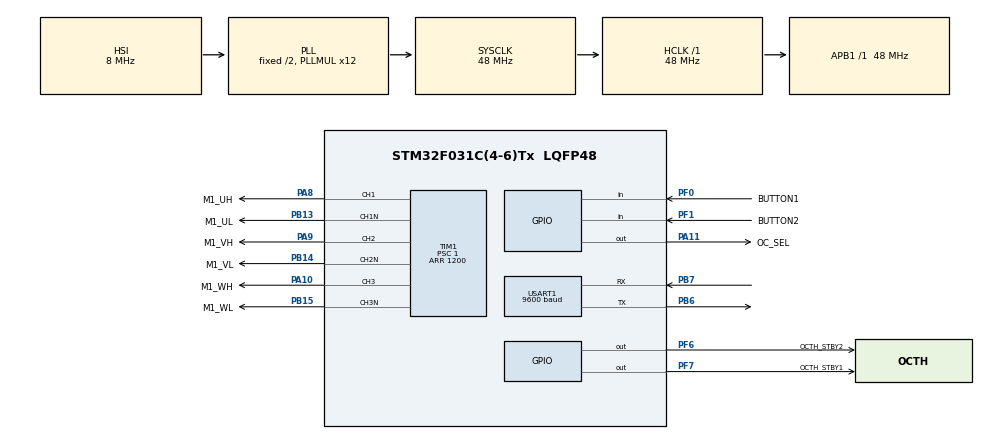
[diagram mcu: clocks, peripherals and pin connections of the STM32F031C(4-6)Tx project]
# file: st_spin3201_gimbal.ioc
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Mcu.Family=STM32F0
Mcu.Name=STM32F031C(4-6)Tx
Mcu.Package=LQFP48
NVIC.TIM1_BRK_UP_TRG_COM_IRQn=true\:0\:0\:false\:false\:true\:true\:true
NVIC.TIM1_CC_IRQn=true\:0\:0\:false\:false\:true\:true\:true
PA10.GPIO_Label=M1_WH
PA10.Signal=S_TIM1_CH3
PA11.GPIO_Label=OC_SEL
PA11.Signal=GPIO_Output
PA8.GPIO_Label=M1_UH
PA8.Signal=S_TIM1_CH1
PA9.GPIO_Label=M1_VH
PA9.Signal=S_TIM1_CH2
PB13.GPIO_Label=M1_UL
PB13.Mode=PWM Generation1 CH1 CH1N
PB13.Signal=TIM1_CH1N
PB14.GPIO_Label=M1_VL
PB14.Mode=PWM Generation2 CH2 CH2N
PB14.Signal=TIM1_CH2N
PB15.GPIO_Label=M1_WL
PB15.Mode=PWM Generation3 CH3 CH3N
PB15.Signal=TIM1_CH3N
PB6.Mode=Asynchronous
PB6.Signal=USART1_TX
PB7.Mode=Asynchronous
PB7.Signal=USART1_RX
PF0-OSC_IN.GPIO_Label=BUTTON1
PF0-OSC_IN.Signal=GPIO_Input
PF1-OSC_OUT.GPIO_Label=BUTTON2
PF1-OSC_OUT.Signal=GPIO_Input
PF6.GPIO_Label=OCTH_STBY2
PF6.Signal=GPIO_Output
PF7.GPIO_Label=OCTH_STBY1
PF7.Signal=GPIO_Output
ProjectManager.HeapSize=0x200
ProjectManager.StackSize=0x400
ProjectManager.TargetToolchain=STM32CubeIDE
RCC.AHBFreq_Value=48000000
RCC.APB1Freq_Value=48000000
RCC.APB1TimFreq_Value=48000000
RCC.HCLKFreq_Value=48000000
RCC.PLLMUL=RCC_PLL_MUL12
RCC.SYSCLKFreq_VALUE=48000000
RCC.SYSCLKSource=RCC_SYSCLKSOURCE_PLLCLK
SH.S_TIM1_CH1.0=TIM1_CH1,PWM Generation1 CH1 CH1N
SH.S_TIM1_CH2.0=TIM1_CH2,PWM Generation2 CH2 CH2N
SH.S_TIM1_CH3.0=TIM1_CH3,PWM Generation3 CH3 CH3N
TIM1.Channel-PWM\ Generation1\ CH1\ CH1N=TIM_CHANNEL_1
TIM1.Channel-PWM\ Generation2\ CH2\ CH2N=TIM_CHANNEL_2
TIM1.Channel-PWM\ Generation3\ CH3\ CH3N=TIM_CHANNEL_3
TIM1.CounterMode=TIM_COUNTERMODE_CENTERALIGNED1
TIM1.DeadTime=3
TIM1.OCMode_PWM-PWM\ Generation1\ CH1\ CH1N=TIM_OCMODE_PWM1
TIM1.OCMode_PWM-PWM\ Generation2\ CH2\ CH2N=TIM_OCMODE_PWM1
TIM1.OCMode_PWM-PWM\ Generation3\ CH3\ CH3N=TIM_OCMODE_PWM1
TIM1.Period=1200
TIM1.Prescaler=1
USART1.BaudRate=9600
USART1.VirtualMode-Asynchronous=VM_ASYNC
board=custom

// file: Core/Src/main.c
/* USER CODE BEGIN Header */
/**
  ******************************************************************************
  * @file           : main.c
  * @brief          : Main program body
  ******************************************************************************
  * @attention
  *
  * <h2><center>&copy; Copyright (c) 2020 STMicroelectronics.
  * All rights reserved.</center></h2>
  *
  * This software component is licensed by ST under BSD 3-Clause license,
  * the "License"; You may not use this file except in compliance with the
  * License. You may obtain a copy of the License at:
  *                        opensource.org/licenses/BSD-3-Clause
  *
  ******************************************************************************
  */
/* USER CODE END Header */

#include "main.h"

/* USER CODE BEGIN Includes */
#include "math.h"
/* USER CODE END Includes */

TIM_HandleTypeDef htim1;

UART_HandleTypeDef huart1;

void SystemClock_Config(void);
static void MX_GPIO_Init(void);
static void MX_TIM1_Init(void);
static void MX_USART1_UART_Init(void);
/* USER CODE BEGIN PFP */

const uint16_t g_dc_max = 200u;
volatile uint8_t  g_actv_sector = 0u;
volatile uint16_t g_ccr_ta  = 0u;
volatile uint16_t g_ccr_tb  = 0u;
volatile uint16_t g_ccr_t0  = 0u;
volatile uint8_t  g_data_updated = 0u;

/* USER CODE END PFP */

/* USER CODE BEGIN 0 */

/**
 * @brief Calculate the current sector
 *
 * @param angle Angle of rotor with 0.1 acurracy (e.g. 253 = 25.3°)
 */
const uint8_t getActvSector(const uint16_t angle)
{
  const uint16_t angle_lim = (angle % 3600) / 600;
  return (uint8_t)angle_lim;
}

/* USER CODE END 0 */

int main(void)
{

  /* MCU Configuration--------------------------------------------------------*/

  /* Reset of all peripherals, Initializes the Flash interface and the Systick. */
  HAL_Init();

  /* Configure the system clock */
  SystemClock_Config();

  /* Initialize all configured peripherals */
  MX_GPIO_Init();
  MX_TIM1_Init();
  MX_USART1_UART_Init();
  /* USER CODE BEGIN 2 */

  // Enable device
  HAL_GPIO_WritePin(OCTH_STBY1_GPIO_Port, OCTH_STBY1_Pin, GPIO_PIN_SET);

  // Enable PWM
  HAL_TIM_Base_Start_IT(&htim1);
  HAL_TIM_PWM_Start(&htim1, TIM_CHANNEL_1);
  HAL_TIM_PWM_Start(&htim1, TIM_CHANNEL_2);
  HAL_TIM_PWM_Start(&htim1, TIM_CHANNEL_3);
  HAL_TIMEx_PWMN_Start(&htim1, TIM_CHANNEL_1);
  HAL_TIMEx_PWMN_Start(&htim1, TIM_CHANNEL_2);
  HAL_TIMEx_PWMN_Start(&htim1, TIM_CHANNEL_3);

  //htim1.Instance->CCER = com_table[0];
  /* USER CODE END 2 */

  /* Infinite loop */
  /* USER CODE BEGIN WHILE */

  uint16_t angle = 400u;
  uint8_t angle_up = 1u;

  // Calculate T0
  // 1.0 / 20 kHz = 50 usec -> Center mode = 25 usec

  // Calculate modulation index
  // V_MOT / V_DC = 6.0 / 12.0 = 0.2

  // Calculate timing prefix -> usec time base
  // (2 / sqrt(3)) * T0 * mi = 5.77f;
  const float prefix = 6.0f;

  while (1)
  {
    /* USER CODE END WHILE */

    /* USER CODE BEGIN 3 */

    if(0u == g_data_updated) {

      // Loop takes about 200 usecs
      const uint16_t angle_lim = angle % 600;
      const float angle_rad = ((float)(angle_lim) / 1800.0f) * 3.1416f;

      const float ta = prefix * sinf(1.0472f - angle_rad);
      const float tb = prefix * sinf(angle_rad);
      const float t0 = 25.0f - ta - tb;

      g_ccr_ta = (uint16_t)(ta / 0.0208f);
      g_ccr_tb = (uint16_t)(tb / 0.0208f);
      g_ccr_t0 = (uint16_t)(t0 / (0.0208f * 2.0f));

      g_actv_sector = (angle % 3600) / 600;

      g_data_updated = 1;
    }

    if(angle_up == 1) angle += 5u;
    else angle -= 10;

    //if(angle >= 3500) angle_up = 0u;
    //else if(angle == 0u) angle_up = 1u;

    if(angle >= 3600) angle = 0u;

    HAL_Delay(10u);
  }
  /* USER CODE END 3 */
}

void SystemClock_Config(void)
{
  RCC_OscInitTypeDef RCC_OscInitStruct = {0};
  RCC_ClkInitTypeDef RCC_ClkInitStruct = {0};
  RCC_PeriphCLKInitTypeDef PeriphClkInit = {0};

  /** Initializes the CPU, AHB and APB busses clocks
  */
  RCC_OscInitStruct.OscillatorType = RCC_OSCILLATORTYPE_HSI;
  RCC_OscInitStruct.HSIState = RCC_HSI_ON;
  RCC_OscInitStruct.HSICalibrationValue = RCC_HSICALIBRATION_DEFAULT;
  RCC_OscInitStruct.PLL.PLLState = RCC_PLL_ON;
  RCC_OscInitStruct.PLL.PLLSource = RCC_PLLSOURCE_HSI;
  RCC_OscInitStruct.PLL.PLLMUL = RCC_PLL_MUL12;
  RCC_OscInitStruct.PLL.PREDIV = RCC_PREDIV_DIV1;
  if (HAL_RCC_OscConfig(&RCC_OscInitStruct) != HAL_OK)
  {
    Error_Handler();
  }
  /** Initializes the CPU, AHB and APB busses clocks
  */
  RCC_ClkInitStruct.ClockType = RCC_CLOCKTYPE_HCLK|RCC_CLOCKTYPE_SYSCLK
                              |RCC_CLOCKTYPE_PCLK1;
  RCC_ClkInitStruct.SYSCLKSource = RCC_SYSCLKSOURCE_PLLCLK;
  RCC_ClkInitStruct.AHBCLKDivider = RCC_SYSCLK_DIV1;
  RCC_ClkInitStruct.APB1CLKDivider = RCC_HCLK_DIV1;

  if (HAL_RCC_ClockConfig(&RCC_ClkInitStruct, FLASH_LATENCY_1) != HAL_OK)
  {
    Error_Handler();
  }
  PeriphClkInit.PeriphClockSelection = RCC_PERIPHCLK_USART1;
  PeriphClkInit.Usart1ClockSelection = RCC_USART1CLKSOURCE_PCLK1;
  if (HAL_RCCEx_PeriphCLKConfig(&PeriphClkInit) != HAL_OK)
  {
    Error_Handler();
  }
}

static void MX_TIM1_Init(void)
{

  TIM_MasterConfigTypeDef sMasterConfig = {0};
  TIM_OC_InitTypeDef sConfigOC = {0};
  TIM_BreakDeadTimeConfigTypeDef sBreakDeadTimeConfig = {0};

  htim1.Instance = TIM1;
  htim1.Init.Prescaler = 0;
  htim1.Init.CounterMode = TIM_COUNTERMODE_CENTERALIGNED1;
  htim1.Init.Period = 1204;
  htim1.Init.ClockDivision = TIM_CLOCKDIVISION_DIV1;
  htim1.Init.RepetitionCounter = 0;
  htim1.Init.AutoReloadPreload = TIM_AUTORELOAD_PRELOAD_DISABLE;
  if (HAL_TIM_PWM_Init(&htim1) != HAL_OK)
  {
    Error_Handler();
  }
  sMasterConfig.MasterOutputTrigger = TIM_TRGO_RESET;
  sMasterConfig.MasterSlaveMode = TIM_MASTERSLAVEMODE_DISABLE;
  if (HAL_TIMEx_MasterConfigSynchronization(&htim1, &sMasterConfig) != HAL_OK)
  {
    Error_Handler();
  }
  sConfigOC.OCMode = TIM_OCMODE_PWM1;
  sConfigOC.Pulse = 0;
  sConfigOC.OCPolarity = TIM_OCPOLARITY_HIGH;
  sConfigOC.OCNPolarity = TIM_OCNPOLARITY_HIGH;
  sConfigOC.OCFastMode = TIM_OCFAST_DISABLE;
  sConfigOC.OCIdleState = TIM_OCIDLESTATE_RESET;
  sConfigOC.OCNIdleState = TIM_OCNIDLESTATE_RESET;
  if (HAL_TIM_PWM_ConfigChannel(&htim1, &sConfigOC, TIM_CHANNEL_1) != HAL_OK)
  {
    Error_Handler();
  }
  if (HAL_TIM_PWM_ConfigChannel(&htim1, &sConfigOC, TIM_CHANNEL_2) != HAL_OK)
  {
    Error_Handler();
  }
  if (HAL_TIM_PWM_ConfigChannel(&htim1, &sConfigOC, TIM_CHANNEL_3) != HAL_OK)
  {
    Error_Handler();
  }
  sBreakDeadTimeConfig.OffStateRunMode = TIM_OSSR_DISABLE;
  sBreakDeadTimeConfig.OffStateIDLEMode = TIM_OSSI_DISABLE;
  sBreakDeadTimeConfig.LockLevel = TIM_LOCKLEVEL_OFF;
  sBreakDeadTimeConfig.DeadTime = 3;
  sBreakDeadTimeConfig.BreakState = TIM_BREAK_DISABLE;
  sBreakDeadTimeConfig.BreakPolarity = TIM_BREAKPOLARITY_HIGH;
  sBreakDeadTimeConfig.AutomaticOutput = TIM_AUTOMATICOUTPUT_DISABLE;
  if (HAL_TIMEx_ConfigBreakDeadTime(&htim1, &sBreakDeadTimeConfig) != HAL_OK)
  {
    Error_Handler();
  }
  HAL_TIM_MspPostInit(&htim1);

}

static void MX_USART1_UART_Init(void)
{

  huart1.Instance = USART1;
  huart1.Init.BaudRate = 9600;
  huart1.Init.WordLength = UART_WORDLENGTH_8B;
  huart1.Init.StopBits = UART_STOPBITS_1;
  huart1.Init.Parity = UART_PARITY_NONE;
  huart1.Init.Mode = UART_MODE_TX_RX;
  huart1.Init.HwFlowCtl = UART_HWCONTROL_NONE;
  huart1.Init.OverSampling = UART_OVERSAMPLING_16;
  huart1.Init.OneBitSampling = UART_ONE_BIT_SAMPLE_DISABLE;
  huart1.AdvancedInit.AdvFeatureInit = UART_ADVFEATURE_NO_INIT;
  if (HAL_UART_Init(&huart1) != HAL_OK)
  {
    Error_Handler();
  }

}

static void MX_GPIO_Init(void)
{
  GPIO_InitTypeDef GPIO_InitStruct = {0};

  /* GPIO Ports Clock Enable */
  __HAL_RCC_GPIOF_CLK_ENABLE();
  __HAL_RCC_GPIOB_CLK_ENABLE();
  __HAL_RCC_GPIOA_CLK_ENABLE();

  /*Configure GPIO pin Output Level */
  HAL_GPIO_WritePin(OC_SEL_GPIO_Port, OC_SEL_Pin, GPIO_PIN_RESET);

  /*Configure GPIO pin Output Level */
  HAL_GPIO_WritePin(GPIOF, OCTH_STBY2_Pin|OCTH_STBY1_Pin, GPIO_PIN_RESET);

  /*Configure GPIO pins : BUTTON1_Pin BUTTON2_Pin */
  GPIO_InitStruct.Pin = BUTTON1_Pin|BUTTON2_Pin;
  GPIO_InitStruct.Mode = GPIO_MODE_INPUT;
  GPIO_InitStruct.Pull = GPIO_NOPULL;
  HAL_GPIO_Init(GPIOF, &GPIO_InitStruct);

  /*Configure GPIO pin : OC_SEL_Pin */
  GPIO_InitStruct.Pin = OC_SEL_Pin;
  GPIO_InitStruct.Mode = GPIO_MODE_OUTPUT_PP;
  GPIO_InitStruct.Pull = GPIO_NOPULL;
  GPIO_InitStruct.Speed = GPIO_SPEED_FREQ_LOW;
  HAL_GPIO_Init(OC_SEL_GPIO_Port, &GPIO_InitStruct);

  /*Configure GPIO pins : OCTH_STBY2_Pin OCTH_STBY1_Pin */
  GPIO_InitStruct.Pin = OCTH_STBY2_Pin|OCTH_STBY1_Pin;
  GPIO_InitStruct.Mode = GPIO_MODE_OUTPUT_PP;
  GPIO_InitStruct.Pull = GPIO_NOPULL;
  GPIO_InitStruct.Speed = GPIO_SPEED_FREQ_LOW;
  HAL_GPIO_Init(GPIOF, &GPIO_InitStruct);

}

/* USER CODE BEGIN 4 */

void HAL_TIM_PeriodElapsedCallback(TIM_HandleTypeDef *htim)
{
  if(htim->Instance == htim1.Instance)
  {
    if(g_data_updated == 1u)
    {
      switch(g_actv_sector)
      {
        case 0: {
          htim1.Instance->CCR1 = g_ccr_t0;
          htim1.Instance->CCR2 = g_ccr_t0 + g_ccr_tb;
          htim1.Instance->CCR3 = g_ccr_t0 + g_ccr_tb + g_ccr_ta;
        }break;

        case 1: {
          htim1.Instance->CCR1 = g_ccr_t0;
          htim1.Instance->CCR2 = g_ccr_t0 + g_ccr_ta + g_ccr_tb;
          htim1.Instance->CCR3 = g_ccr_t0 + g_ccr_ta;
        }break;

        case 2: {
          htim1.Instance->CCR1 = g_ccr_t0 + g_ccr_tb;
          htim1.Instance->CCR2 = g_ccr_t0 + g_ccr_ta + g_ccr_tb;
          htim1.Instance->CCR3 = g_ccr_t0;
        }break;

        case 3: {
          htim1.Instance->CCR1 = g_ccr_t0 + g_ccr_ta + g_ccr_tb;
          htim1.Instance->CCR2 = g_ccr_t0 + g_ccr_ta;
          htim1.Instance->CCR3 = g_ccr_t0;
        }break;

        case 4: {
          htim1.Instance->CCR1 = g_ccr_t0 + g_ccr_ta + g_ccr_tb;
          htim1.Instance->CCR2 = g_ccr_t0;
          htim1.Instance->CCR3 = g_ccr_t0 + g_ccr_tb;
        }break;

        case 5: {
          htim1.Instance->CCR1 = g_ccr_t0 + g_ccr_ta;
          htim1.Instance->CCR2 = g_ccr_t0;
          htim1.Instance->CCR3 = g_ccr_t0 + g_ccr_ta + g_ccr_tb;
        }break;

      }

      g_data_updated = 0;
    }
  }
}

/* USER CODE END 4 */

void Error_Handler(void)
{
}

/************************ (C) COPYRIGHT STMicroelectronics *****END OF FILE****/
